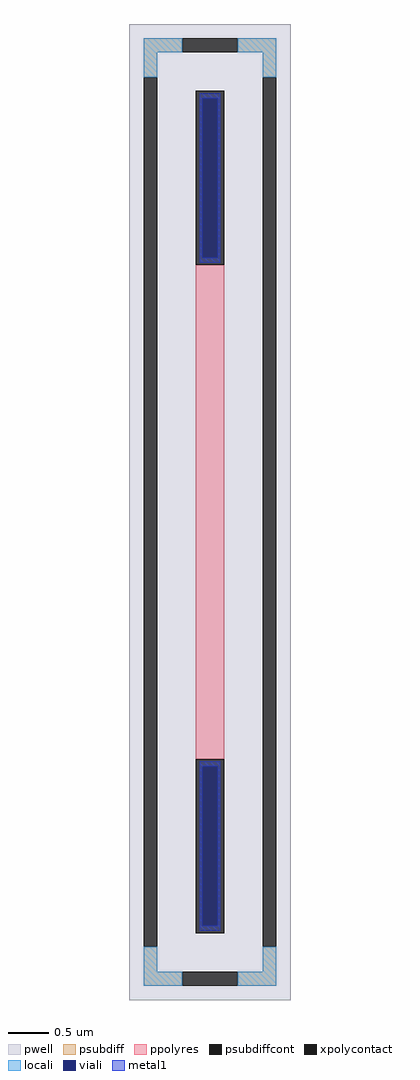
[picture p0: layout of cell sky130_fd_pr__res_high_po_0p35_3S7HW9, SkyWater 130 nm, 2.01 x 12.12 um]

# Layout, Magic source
magic
tech sky130A
magscale 1 2
<< pwell >>
rect -201 -1212 201 1212
<< psubdiff >>
rect -165 1142 -69 1176
rect 69 1142 165 1176
rect -165 1080 -131 1142
rect 131 1080 165 1142
rect -165 -1142 -131 -1080
rect 131 -1142 165 -1080
rect -165 -1176 -69 -1142
rect 69 -1176 165 -1142
<< psubdiffcont >>
rect -69 1142 69 1176
rect -165 -1080 -131 1080
rect 131 -1080 165 1080
rect -69 -1176 69 -1142
<< xpolycontact >>
rect -35 614 35 1046
rect -35 -1046 35 -614
<< ppolyres >>
rect -35 -614 35 614
<< locali >>
rect -165 1142 -69 1176
rect 69 1142 165 1176
rect -165 1080 -131 1142
rect 131 1080 165 1142
rect -165 -1142 -131 -1080
rect 131 -1142 165 -1080
rect -165 -1176 -69 -1142
rect 69 -1176 165 -1142
<< viali >>
rect -19 631 19 1028
rect -19 -1028 19 -631
<< metal1 >>
rect -25 1028 25 1040
rect -25 631 -19 1028
rect 19 631 25 1028
rect -25 619 25 631
rect -25 -631 25 -619
rect -25 -1028 -19 -631
rect 19 -1028 25 -631
rect -25 -1040 25 -1028
<< properties >>
string FIXED_BBOX -148 -1159 148 1159
string gencell sky130_fd_pr__res_high_po_0p35
string library sky130
string parameters w 0.350 l 6.3 m 1 nx 1 wmin 0.350 lmin 0.50 rho 319.8 val 6.869k dummy 0 dw 0.0 term 194.82 sterm 0.0 caplen 0 guard 1 glc 1 grc 1 gtc 1 gbc 1 compatible {sky130_fd_pr__res_high_po_0p35  sky130_fd_pr__res_high_po_0p69 sky130_fd_pr__res_high_po_1p41  sky130_fd_pr__res_high_po_2p85 sky130_fd_pr__res_high_po_5p73} snake 0 full_metal 1 wmax 0.350 vias 1 n_guard 0 hv_guard 0 viagb 0 viagt 0 viagl 0 viagr 0
<< end >>
